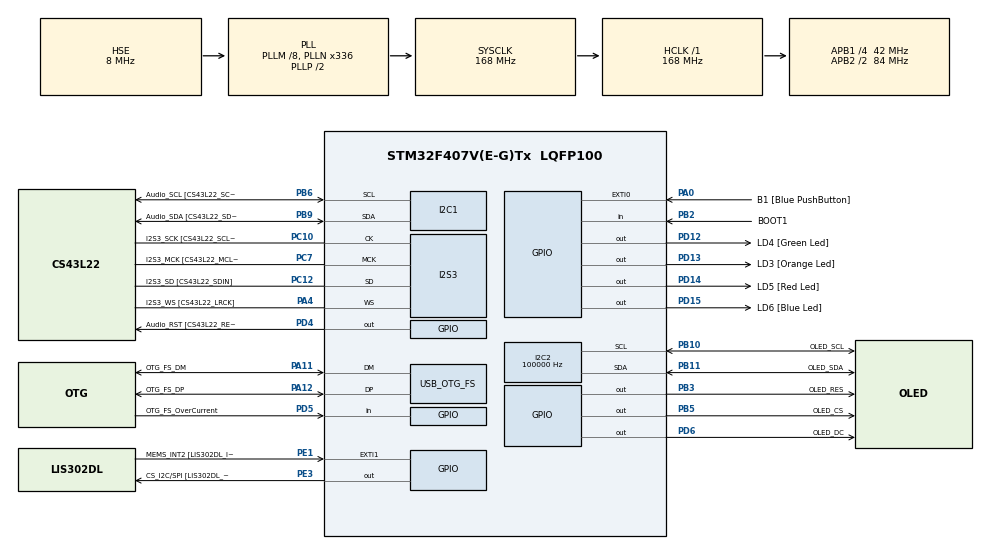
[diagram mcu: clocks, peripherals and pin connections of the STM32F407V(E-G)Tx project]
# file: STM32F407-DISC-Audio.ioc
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Dma.Request0=SPI3_TX
Dma.SPI3_TX.0.Direction=DMA_MEMORY_TO_PERIPH
Dma.SPI3_TX.0.FIFOMode=DMA_FIFOMODE_DISABLE
Dma.SPI3_TX.0.Instance=DMA1_Stream5
Dma.SPI3_TX.0.MemDataAlignment=DMA_MDATAALIGN_HALFWORD
Dma.SPI3_TX.0.MemInc=DMA_MINC_ENABLE
Dma.SPI3_TX.0.Mode=DMA_CIRCULAR
Dma.SPI3_TX.0.PeriphDataAlignment=DMA_PDATAALIGN_HALFWORD
Dma.SPI3_TX.0.PeriphInc=DMA_PINC_DISABLE
Dma.SPI3_TX.0.Priority=DMA_PRIORITY_LOW
FREERTOS.Tasks01=defaultTask,0,128,StartDefaultTask,Default,NULL,Dynamic,NULL,NULL
I2S3.AudioFreq=I2S_AUDIOFREQ_48K
I2S3.ErrorAudioFreq=-0.02 %
I2S3.FullDuplexMode=I2S_FULLDUPLEXMODE_DISABLE
I2S3.Instance=SPI$Index
I2S3.RealAudioFreq=47.991 KHz
I2S3.VirtualMode=I2S_MODE_MASTER
Mcu.Family=STM32F4
Mcu.Name=STM32F407V(E-G)Tx
Mcu.Package=LQFP100
NVIC.DMA1_Stream5_IRQn=true\:5\:0\:false\:false\:true\:true\:false\:true\:true
NVIC.OTG_FS_IRQn=true\:5\:0\:false\:false\:true\:true\:true\:true\:true
NVIC.PriorityGroup=NVIC_PRIORITYGROUP_4
NVIC.TIM1_UP_TIM10_IRQn=true\:15\:0\:false\:false\:true\:false\:false\:true\:true
NVIC.TimeBase=TIM1_UP_TIM10_IRQn
NVIC.TimeBaseIP=TIM1
PA0-WKUP.GPIO_Label=B1 [Blue PushButton]
PA0-WKUP.GPIO_ModeDefaultEXTI=GPIO_MODE_EVT_RISING
PA0-WKUP.GPIO_PuPd=GPIO_NOPULL
PA0-WKUP.Signal=GPXTI0
PA10.GPIO_Label=OTG_FS_ID
PA10.GPIO_Mode=GPIO_MODE_AF_PP
PA10.GPIO_PuPd=GPIO_NOPULL
PA10.GPIO_Speed=GPIO_SPEED_FREQ_LOW
PA10.Signal=USB_OTG_FS_ID
PA11.GPIO_Label=OTG_FS_DM
PA11.GPIO_Mode=GPIO_MODE_AF_PP
PA11.GPIO_PuPd=GPIO_NOPULL
PA11.GPIO_Speed=GPIO_SPEED_FREQ_LOW
PA11.Mode=Device_Only
PA11.Signal=USB_OTG_FS_DM
PA12.GPIO_Label=OTG_FS_DP
PA12.GPIO_Mode=GPIO_MODE_AF_PP
PA12.GPIO_PuPd=GPIO_NOPULL
PA12.GPIO_Speed=GPIO_SPEED_FREQ_LOW
PA12.Mode=Device_Only
PA12.Signal=USB_OTG_FS_DP
PA13.GPIO_Label=SWDIO
PA13.Mode=Serial_Wire
PA13.Signal=SYS_JTMS-SWDIO
PA14.GPIO_Label=SWCLK
PA14.Mode=Serial_Wire
PA14.Signal=SYS_JTCK-SWCLK
PA4.GPIO_Label=I2S3_WS [CS43L22_LRCK]
PA4.GPIO_Mode=GPIO_MODE_AF_PP
PA4.GPIO_PuPd=GPIO_NOPULL
PA4.GPIO_Speed=GPIO_SPEED_FREQ_LOW
PA4.Mode=Half_Duplex_Master
PA4.Signal=I2S3_WS
PA6.GPIO_Label=SPI1_MISO [LIS302DL_SDO]
PA6.GPIO_Mode=GPIO_MODE_AF_PP
PA6.GPIO_PuPd=GPIO_NOPULL
PA6.GPIO_Speed=GPIO_SPEED_FREQ_LOW
PA6.Signal=SPI1_MISO
PA7.GPIO_Label=SPI1_MOSI [LIS302DL_SDA/SDI/SDO]
PA7.GPIO_Mode=GPIO_MODE_AF_PP
PA7.GPIO_PuPd=GPIO_NOPULL
PA7.GPIO_Speed=GPIO_SPEED_FREQ_LOW
PA7.Signal=SPI1_MOSI
PA9.GPIO_Label=VBUS_FS
PA9.GPIO_Mode=GPIO_MODE_INPUT
PA9.GPIO_PuPd=GPIO_NOPULL
PA9.Signal=USB_OTG_FS_VBUS
I2C2.ClockSpeed=100000
PB2.GPIO_Label=BOOT1
PB2.GPIO_Mode=GPIO_MODE_INPUT
PB2.GPIO_PuPd=GPIO_NOPULL
PB2.Signal=GPIO_Input
PB3.GPIO_Label=OLED_RES
PB3.GPIO_PuPd=GPIO_NOPULL
PB3.GPIO_Speed=GPIO_SPEED_FREQ_LOW
PB3.Signal=GPIO_Output
PB5.GPIO_Label=OLED_CS
PB5.GPIO_PuPd=GPIO_NOPULL
PB5.GPIO_Speed=GPIO_SPEED_FREQ_LOW
PB5.Signal=GPIO_Output
PB6.GPIO_Label=Audio_SCL [CS43L22_SCL]
PB6.GPIO_Mode=GPIO_MODE_AF_OD
PB6.GPIO_Pu=GPIO_PULLUP
PB6.GPIO_PuPd=GPIO_NOPULL
PB6.GPIO_Speed=GPIO_SPEED_FREQ_LOW
PB6.Mode=I2C
PB6.Signal=I2C1_SCL
PB9.GPIO_Label=Audio_SDA [CS43L22_SDA]
PB9.GPIO_Mode=GPIO_MODE_AF_OD
PB9.GPIO_Pu=GPIO_PULLUP
PB9.GPIO_PuPd=GPIO_NOPULL
PB9.GPIO_Speed=GPIO_SPEED_FREQ_LOW
PB9.Mode=I2C
PB9.Signal=I2C1_SDA
PB10.GPIO_Label=OLED_SCL
PB10.GPIO_Mode=GPIO_MODE_AF_OD
PB10.GPIO_Pu=GPIO_PULLUP
PB10.GPIO_PuPd=GPIO_NOPULL
PB10.GPIO_Speed=GPIO_SPEED_FREQ_LOW
PB10.Mode=I2C
PB10.Signal=I2C2_SCL
PB11.GPIO_Label=OLED_SDA
PB11.GPIO_Mode=GPIO_MODE_AF_OD
PB11.GPIO_Pu=GPIO_PULLUP
PB11.GPIO_PuPd=GPIO_NOPULL
PB11.GPIO_Speed=GPIO_SPEED_FREQ_LOW
PB11.Mode=I2C
PB11.Signal=I2C2_SDA
PC10.GPIO_Label=I2S3_SCK [CS43L22_SCLK]
PC10.GPIO_Mode=GPIO_MODE_AF_PP
PC10.GPIO_PuPd=GPIO_NOPULL
PC10.GPIO_Speed=GPIO_SPEED_FREQ_LOW
PC10.Mode=Half_Duplex_Master
PC10.Signal=I2S3_CK
PC12.GPIO_Label=I2S3_SD [CS43L22_SDIN]
PC12.GPIO_Mode=GPIO_MODE_AF_PP
PC12.GPIO_PuPd=GPIO_NOPULL
PC12.GPIO_Speed=GPIO_SPEED_FREQ_LOW
PC12.Mode=Half_Duplex_Master
PC12.Signal=I2S3_SD
PC14-OSC32_IN.GPIO_Label=PC14-OSC32_IN
PC14-OSC32_IN.Mode=LSE-External-Oscillator
PC14-OSC32_IN.Signal=RCC_OSC32_IN
PC15-OSC32_OUT.GPIO_Label=PC15-OSC32_OUT
PC15-OSC32_OUT.Mode=LSE-External-Oscillator
PC15-OSC32_OUT.Signal=RCC_OSC32_OUT
PC7.GPIO_Label=I2S3_MCK [CS43L22_MCLK]
PC7.GPIO_Mode=GPIO_MODE_AF_PP
PC7.GPIO_PuPd=GPIO_NOPULL
PC7.GPIO_Speed=GPIO_SPEED_FREQ_LOW
PC7.Mode=Master_Clock_Activated
PC7.Signal=I2S3_MCK
PD12.GPIO_Label=LD4 [Green Led]
PD12.GPIO_PuPd=GPIO_NOPULL
PD12.GPIO_Speed=GPIO_SPEED_FREQ_LOW
PD12.Signal=GPIO_Output
PD13.GPIO_Label=LD3 [Orange Led]
PD13.GPIO_PuPd=GPIO_NOPULL
PD13.GPIO_Speed=GPIO_SPEED_FREQ_LOW
PD13.Signal=GPIO_Output
PD14.GPIO_Label=LD5 [Red Led]
PD14.GPIO_PuPd=GPIO_NOPULL
PD14.GPIO_Speed=GPIO_SPEED_FREQ_LOW
PD14.Signal=GPIO_Output
PD15.GPIO_Label=LD6 [Blue Led]
PD15.GPIO_PuPd=GPIO_NOPULL
PD15.GPIO_Speed=GPIO_SPEED_FREQ_LOW
PD15.Signal=GPIO_Output
PD4.GPIO_Label=Audio_RST [CS43L22_RESET]
PD4.GPIO_PuPd=GPIO_NOPULL
PD4.GPIO_Speed=GPIO_SPEED_FREQ_LOW
PD4.Signal=GPIO_Output
PD5.GPIO_Label=OTG_FS_OverCurrent
PD5.GPIO_Mode=GPIO_MODE_INPUT
PD5.GPIO_PuPd=GPIO_NOPULL
PD5.Signal=GPIO_Input
PD6.GPIO_Label=OLED_DC
PD6.GPIO_PuPd=GPIO_NOPULL
PD6.GPIO_Speed=GPIO_SPEED_FREQ_LOW
PD6.Signal=GPIO_Output
PE1.GPIO_Label=MEMS_INT2 [LIS302DL_INT2]
PE1.GPIO_ModeDefaultEXTI=GPIO_MODE_EVT_RISING
PE1.GPIO_PuPd=GPIO_NOPULL
PE1.Signal=GPXTI1
PE3.GPIO_Label=CS_I2C/SPI [LIS302DL_CS_I2C/SPI]
PE3.GPIO_PuPd=GPIO_NOPULL
PE3.GPIO_Speed=GPIO_SPEED_FREQ_LOW
PE3.Signal=GPIO_Output
PH0-OSC_IN.GPIO_Label=PH0-OSC_IN
PH0-OSC_IN.Mode=HSE-External-Oscillator
PH0-OSC_IN.Signal=RCC_OSC_IN
PH1-OSC_OUT.GPIO_Label=PH1-OSC_OUT
PH1-OSC_OUT.Mode=HSE-External-Oscillator
PH1-OSC_OUT.Signal=RCC_OSC_OUT
ProjectManager.HeapSize=0x200
ProjectManager.StackSize=0x400
ProjectManager.TargetToolchain=CMake
RCC.48MHZClocksFreq_Value=48000000
RCC.AHBFreq_Value=168000000
RCC.APB1CLKDivider=RCC_HCLK_DIV4
RCC.APB1Freq_Value=42000000
RCC.APB1TimFreq_Value=84000000
RCC.APB2CLKDivider=RCC_HCLK_DIV2
RCC.APB2Freq_Value=84000000
RCC.APB2TimFreq_Value=168000000
RCC.CortexFreq_Value=168000000
RCC.HCLKFreq_Value=168000000
RCC.HSE_VALUE=8000000
RCC.HSI_VALUE=16000000
RCC.PLLI2SN=258
RCC.PLLI2SR=3
RCC.PLLM=8
RCC.PLLN=336
RCC.PLLQ=7
RCC.SYSCLKFreq_VALUE=168000000
RCC.SYSCLKSource=RCC_SYSCLKSOURCE_PLLCLK
RCC.VCOOutputFreq_Value=336000000
USB_DEVICE.CLASS_NAME_FS=AUDIO
USB_DEVICE.USBD_AUDIO_FREQ-AUDIO_FS=48000
USB_DEVICE.VirtualMode-AUDIO_FS=Audio
USB_DEVICE.VirtualModeFS=Audio_FS
USB_OTG_FS.VirtualMode=Device_Only
VP_FREERTOS_VS_CMSIS_V1.Mode=CMSIS_V1
VP_SYS_VS_tim1.Mode=TIM1
VP_USB_DEVICE_VS_USB_DEVICE_AUDIO_FS.Mode=AUDIO_FS
board=STM32F407G-DISC1

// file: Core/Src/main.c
/* USER CODE BEGIN Header */
/**
  ******************************************************************************
  * @file           : main.c
  * @brief          : Main program body
  ******************************************************************************
  * @attention
  *
  * Copyright (c) 2026 STMicroelectronics.
  * All rights reserved.
  *
  * This software is licensed under terms that can be found in the LICENSE file
  * in the root directory of this software component.
  * If no LICENSE file comes with this software, it is provided AS-IS.
  *
  ******************************************************************************
  */
/* USER CODE END Header */
#include "main.h"
#include "cmsis_os.h"
#if ENABLE_DISPLAY
#include "oled_display.h"
#endif
#include "usb_device.h"
#include "usbd_audio_if.h"

/* USER CODE BEGIN Includes */
#if ENABLE_DISPLAY
#include "lvgl.h"
#include "lv_port_disp_oled.h"
#endif
#include "usbd_def.h"
/* USER CODE END Includes */

I2C_HandleTypeDef hi2c1;
I2C_HandleTypeDef hi2c2;

I2S_HandleTypeDef hi2s3;
DMA_HandleTypeDef hdma_spi3_tx;

osThreadId defaultTaskHandle;
osThreadId audioTaskHandle;
#if ENABLE_DISPLAY
osThreadId lcdTaskHandle;
osMessageQId uiEventQueueHandle;
#endif
/* USER CODE BEGIN PV */
#if ENABLE_DISPLAY
static lv_obj_t *ui_usb_status_val = NULL;
static lv_obj_t *ui_playback_val = NULL;
static lv_obj_t *ui_codec_val = NULL;
static lv_obj_t *ui_sample_rate_val = NULL;
static lv_obj_t *ui_volume_val = NULL;
static lv_obj_t *ui_mute_val = NULL;
static lv_obj_t *ui_root_screen = NULL;
static uint32_t ui_last_audio_update_counter = 0U;
#endif

/* USER CODE END PV */

void SystemClock_Config(void);
static void MX_GPIO_Init(void);
static void MX_DMA_Init(void);
static void MX_I2C1_Init(void);
static void MX_I2C2_Init(void);
static void MX_I2S3_Init(void);
void StartDefaultTask(void const * argument);
void StartAudioTask(void const * argument);
#if ENABLE_DISPLAY
void StartLcdTask(void const * argument);
#endif

/* USER CODE BEGIN PFP */
#if ENABLE_DISPLAY
static void create_audio_info_ui(void);
#endif
extern USBD_HandleTypeDef hUsbDeviceFS;

/* USER CODE END PFP */

/* USER CODE BEGIN 0 */
#define UI_PLAYBACK_STATE_IDLE      0U
#define UI_PLAYBACK_STATE_STARTING  1U
#define UI_PLAYBACK_STATE_ACTIVE    2U
#define UI_EVENT_AUDIO_REFRESH      1U
/* USER CODE END 0 */

int main(void)
{

  /* MCU Configuration--------------------------------------------------------*/

  /* Reset of all peripherals, Initializes the Flash interface and the Systick. */
  HAL_Init();

  /* Configure the system clock */
  SystemClock_Config();

  /* Initialize all configured peripherals */
  MX_GPIO_Init();
  MX_DMA_Init();
  MX_I2C1_Init();
#if ENABLE_DISPLAY
  MX_I2C2_Init();
#endif
  MX_I2S3_Init();

  /* USER CODE BEGIN RTOS_QUEUES */
#if ENABLE_DISPLAY
  /* definition and creation of uiEventQueue */
  osMessageQDef(uiEventQueue, 8, uint16_t);
  uiEventQueueHandle = osMessageCreate(osMessageQ(uiEventQueue), NULL);
#endif
  /* USER CODE END RTOS_QUEUES */

  /* Create the thread(s) */
  /* definition and creation of defaultTask */
  osThreadDef(defaultTask, StartDefaultTask, osPriorityNormal, 0, 512);
  defaultTaskHandle = osThreadCreate(osThread(defaultTask), NULL);

  /* definition and creation of audioTask */
  osThreadDef(audioTask, StartAudioTask, osPriorityHigh, 0, 512);
  audioTaskHandle = osThreadCreate(osThread(audioTask), NULL);

#if ENABLE_DISPLAY
  /* definition and creation of lcdTask */
  osThreadDef(lcdTask, StartLcdTask, osPriorityNormal, 0, 2048);
  lcdTaskHandle = osThreadCreate(osThread(lcdTask), NULL);
#endif

  /* Start scheduler */
  osKernelStart();

  /* We should never get here as control is now taken by the scheduler */

  /* Infinite loop */
  while (1)
  {

    /* USER CODE BEGIN 3 */
    osDelay(30);
  }
  /* USER CODE END 3 */
}

void SystemClock_Config(void)
{
  RCC_OscInitTypeDef RCC_OscInitStruct = {0};
  RCC_ClkInitTypeDef RCC_ClkInitStruct = {0};

  /** Configure the main internal regulator output voltage
  */
  __HAL_RCC_PWR_CLK_ENABLE();
  __HAL_PWR_VOLTAGESCALING_CONFIG(PWR_REGULATOR_VOLTAGE_SCALE1);

  /** Initializes the RCC Oscillators according to the specified parameters
  * in the RCC_OscInitTypeDef structure.
  */
  RCC_OscInitStruct.OscillatorType = RCC_OSCILLATORTYPE_HSE;
  RCC_OscInitStruct.HSEState = RCC_HSE_ON;
  RCC_OscInitStruct.PLL.PLLState = RCC_PLL_ON;
  RCC_OscInitStruct.PLL.PLLSource = RCC_PLLSOURCE_HSE;
  RCC_OscInitStruct.PLL.PLLM = 8;
  RCC_OscInitStruct.PLL.PLLN = 336;
  RCC_OscInitStruct.PLL.PLLP = RCC_PLLP_DIV2;
  RCC_OscInitStruct.PLL.PLLQ = 7;
  if (HAL_RCC_OscConfig(&RCC_OscInitStruct) != HAL_OK)
  {
    Error_Handler();
  }

  /** Initializes the CPU, AHB and APB buses clocks
  */
  RCC_ClkInitStruct.ClockType = RCC_CLOCKTYPE_HCLK|RCC_CLOCKTYPE_SYSCLK
                              |RCC_CLOCKTYPE_PCLK1|RCC_CLOCKTYPE_PCLK2;
  RCC_ClkInitStruct.SYSCLKSource = RCC_SYSCLKSOURCE_PLLCLK;
  RCC_ClkInitStruct.AHBCLKDivider = RCC_SYSCLK_DIV1;
  RCC_ClkInitStruct.APB1CLKDivider = RCC_HCLK_DIV4;
  RCC_ClkInitStruct.APB2CLKDivider = RCC_HCLK_DIV2;

  if (HAL_RCC_ClockConfig(&RCC_ClkInitStruct, FLASH_LATENCY_5) != HAL_OK)
  {
    Error_Handler();
  }
}

static void MX_I2C1_Init(void)
{

  hi2c1.Instance = I2C1;
  hi2c1.Init.ClockSpeed = 100000;
  hi2c1.Init.DutyCycle = I2C_DUTYCYCLE_2;
  hi2c1.Init.OwnAddress1 = 0;
  hi2c1.Init.AddressingMode = I2C_ADDRESSINGMODE_7BIT;
  hi2c1.Init.DualAddressMode = I2C_DUALADDRESS_DISABLE;
  hi2c1.Init.OwnAddress2 = 0;
  hi2c1.Init.GeneralCallMode = I2C_GENERALCALL_DISABLE;
  hi2c1.Init.NoStretchMode = I2C_NOSTRETCH_DISABLE;
  if (HAL_I2C_Init(&hi2c1) != HAL_OK)
  {
    Error_Handler();
  }

}

static void MX_I2C2_Init(void)
{

  hi2c2.Instance = I2C2;
  hi2c2.Init.ClockSpeed = 100000;
  hi2c2.Init.DutyCycle = I2C_DUTYCYCLE_2;
  hi2c2.Init.OwnAddress1 = 0;
  hi2c2.Init.AddressingMode = I2C_ADDRESSINGMODE_7BIT;
  hi2c2.Init.DualAddressMode = I2C_DUALADDRESS_DISABLE;
  hi2c2.Init.OwnAddress2 = 0;
  hi2c2.Init.GeneralCallMode = I2C_GENERALCALL_DISABLE;
  hi2c2.Init.NoStretchMode = I2C_NOSTRETCH_DISABLE;
  if (HAL_I2C_Init(&hi2c2) != HAL_OK)
  {
    Error_Handler();
  }

}

static void MX_I2S3_Init(void)
{

  hi2s3.Instance = SPI3;
  hi2s3.Init.Mode = I2S_MODE_MASTER_TX;
  hi2s3.Init.Standard = I2S_STANDARD_PHILIPS;
  hi2s3.Init.DataFormat = I2S_DATAFORMAT_16B;
  hi2s3.Init.MCLKOutput = I2S_MCLKOUTPUT_ENABLE;
  hi2s3.Init.AudioFreq = I2S_AUDIOFREQ_48K;
  hi2s3.Init.CPOL = I2S_CPOL_LOW;
  hi2s3.Init.ClockSource = I2S_CLOCK_PLL;
  hi2s3.Init.FullDuplexMode = I2S_FULLDUPLEXMODE_DISABLE;
  if (HAL_I2S_Init(&hi2s3) != HAL_OK)
  {
    Error_Handler();
  }

}

static void MX_DMA_Init(void)
{

  /* DMA controller clock enable */
  __HAL_RCC_DMA1_CLK_ENABLE();

  /* DMA interrupt init */
  /* DMA1_Stream5_IRQn interrupt configuration */
  HAL_NVIC_SetPriority(DMA1_Stream5_IRQn, 5, 0);
  HAL_NVIC_EnableIRQ(DMA1_Stream5_IRQn);

}

static void MX_GPIO_Init(void)
{
  GPIO_InitTypeDef GPIO_InitStruct = {0};

  /* GPIO Ports Clock Enable */
  __HAL_RCC_GPIOE_CLK_ENABLE();
  __HAL_RCC_GPIOC_CLK_ENABLE();
  __HAL_RCC_GPIOH_CLK_ENABLE();
  __HAL_RCC_GPIOA_CLK_ENABLE();
  __HAL_RCC_GPIOB_CLK_ENABLE();
  __HAL_RCC_GPIOD_CLK_ENABLE();

  /*Configure GPIO pin Output Level */
  HAL_GPIO_WritePin(CS_I2C_SPI_GPIO_Port, CS_I2C_SPI_Pin, GPIO_PIN_RESET);

  /*Configure GPIO pin Output Level */
  HAL_GPIO_WritePin(GPIOD, LD4_Pin|LD3_Pin|LD5_Pin|LD6_Pin
                          |Audio_RST_Pin|OLED_DC_Pin, GPIO_PIN_RESET);

  /*Configure GPIO pin Output Level */
  HAL_GPIO_WritePin(GPIOB, OLED_RES_Pin|OLED_CS_Pin, GPIO_PIN_RESET);

  /*Configure GPIO pin : CS_I2C_SPI_Pin */
  GPIO_InitStruct.Pin = CS_I2C_SPI_Pin;
  GPIO_InitStruct.Mode = GPIO_MODE_OUTPUT_PP;
  GPIO_InitStruct.Pull = GPIO_NOPULL;
  GPIO_InitStruct.Speed = GPIO_SPEED_FREQ_LOW;
  HAL_GPIO_Init(CS_I2C_SPI_GPIO_Port, &GPIO_InitStruct);

  /*Configure GPIO pin : B1_Pin */
  GPIO_InitStruct.Pin = B1_Pin;
  GPIO_InitStruct.Mode = GPIO_MODE_EVT_RISING;
  GPIO_InitStruct.Pull = GPIO_NOPULL;
  HAL_GPIO_Init(B1_GPIO_Port, &GPIO_InitStruct);

  /*Configure GPIO pins : OLED_RES_Pin OLED_CS_Pin */
  GPIO_InitStruct.Pin = OLED_RES_Pin|OLED_CS_Pin;
  GPIO_InitStruct.Mode = GPIO_MODE_OUTPUT_PP;
  GPIO_InitStruct.Pull = GPIO_NOPULL;
  GPIO_InitStruct.Speed = GPIO_SPEED_FREQ_LOW;
  HAL_GPIO_Init(GPIOB, &GPIO_InitStruct);

  /*Configure GPIO pins : SPI1_MISO_Pin SPI1_MOSI_Pin */
  GPIO_InitStruct.Pin = SPI1_MISO_Pin|SPI1_MOSI_Pin;
  GPIO_InitStruct.Mode = GPIO_MODE_AF_PP;
  GPIO_InitStruct.Pull = GPIO_NOPULL;
  GPIO_InitStruct.Speed = GPIO_SPEED_FREQ_LOW;
  GPIO_InitStruct.Alternate = GPIO_AF5_SPI1;
  HAL_GPIO_Init(GPIOA, &GPIO_InitStruct);

  /*Configure GPIO pin : BOOT1_Pin */
  GPIO_InitStruct.Pin = BOOT1_Pin;
  GPIO_InitStruct.Mode = GPIO_MODE_INPUT;
  GPIO_InitStruct.Pull = GPIO_NOPULL;
  HAL_GPIO_Init(BOOT1_GPIO_Port, &GPIO_InitStruct);

  /*Configure GPIO pins : LD4_Pin LD3_Pin LD5_Pin LD6_Pin
                           Audio_RST_Pin OLED_DC_Pin */
  GPIO_InitStruct.Pin = LD4_Pin|LD3_Pin|LD5_Pin|LD6_Pin
                          |Audio_RST_Pin|OLED_DC_Pin;
  GPIO_InitStruct.Mode = GPIO_MODE_OUTPUT_PP;
  GPIO_InitStruct.Pull = GPIO_NOPULL;
  GPIO_InitStruct.Speed = GPIO_SPEED_FREQ_LOW;
  HAL_GPIO_Init(GPIOD, &GPIO_InitStruct);

  /*Configure GPIO pin : OTG_FS_OverCurrent_Pin */
  GPIO_InitStruct.Pin = OTG_FS_OverCurrent_Pin;
  GPIO_InitStruct.Mode = GPIO_MODE_INPUT;
  GPIO_InitStruct.Pull = GPIO_NOPULL;
  HAL_GPIO_Init(OTG_FS_OverCurrent_GPIO_Port, &GPIO_InitStruct);

  /*Configure GPIO pin : MEMS_INT2_Pin */
  GPIO_InitStruct.Pin = MEMS_INT2_Pin;
  GPIO_InitStruct.Mode = GPIO_MODE_EVT_RISING;
  GPIO_InitStruct.Pull = GPIO_NOPULL;
  HAL_GPIO_Init(MEMS_INT2_GPIO_Port, &GPIO_InitStruct);

}

/* USER CODE BEGIN 4 */
#if ENABLE_DISPLAY
static uint32_t lvgl_tick_get_cb(void)
{
  return HAL_GetTick();
}

static lv_obj_t *create_info_row(lv_obj_t *parent, const char *name, lv_coord_t y)
{
  lv_obj_t *label = lv_label_create(parent);
  lv_label_set_text(label, name);
  lv_obj_set_size(label, 44, LV_SIZE_CONTENT);
  lv_label_set_long_mode(label, LV_LABEL_LONG_CLIP);
  lv_obj_align(label, LV_ALIGN_TOP_LEFT, 2, y);
  lv_obj_set_style_text_color(label, lv_color_hex(0xFFFFFF), LV_PART_MAIN);
  lv_obj_set_style_text_font(label, &lv_font_montserrat_8, LV_PART_MAIN);

  lv_obj_t *value = lv_label_create(parent);
  lv_label_set_text(value, "--");
  lv_obj_set_size(value, 78, LV_SIZE_CONTENT);
  lv_label_set_long_mode(value, LV_LABEL_LONG_CLIP);
  lv_obj_set_style_text_align(value, LV_TEXT_ALIGN_RIGHT, LV_PART_MAIN);
  lv_obj_align(value, LV_ALIGN_TOP_RIGHT, -2, y);
  lv_obj_set_style_text_color(value, lv_color_hex(0xFFFFFF), LV_PART_MAIN);
  lv_obj_set_style_text_font(value, &lv_font_montserrat_8, LV_PART_MAIN);

  return value;
}

static void update_audio_info_ui(void)
{
  const char *usb_status_text = "Detached";
  const char *playback_text = "Idle";

  switch (hUsbDeviceFS.dev_state)
  {
    case USBD_STATE_CONFIGURED:
      usb_status_text = "Configured";
      break;

    case USBD_STATE_ADDRESSED:
      usb_status_text = "Addressed";
      break;

    case USBD_STATE_SUSPENDED:
      usb_status_text = "Suspended";
      break;

    case USBD_STATE_DEFAULT:
    default:
      usb_status_text = "Detached";
      break;
  }

  switch (AUDIO_UI_GetPlaybackState())
  {
    case UI_PLAYBACK_STATE_ACTIVE:
      playback_text = "Active";
      break;

    case UI_PLAYBACK_STATE_STARTING:
      playback_text = "Starting";
      break;

    case UI_PLAYBACK_STATE_IDLE:
    default:
      playback_text = "Idle";
      break;
  }

  if (ui_usb_status_val != NULL)
  {
    lv_label_set_text(ui_usb_status_val, usb_status_text);
  }

  if (ui_playback_val != NULL)
  {
    lv_label_set_text(ui_playback_val, playback_text);
  }

  if (ui_codec_val != NULL)
  {
    lv_label_set_text(ui_codec_val,
                      (AUDIO_UI_GetCodecReady() != 0U) ? "Ready" : "Off");
  }

  if (ui_sample_rate_val != NULL)
  {
    lv_label_set_text_fmt(ui_sample_rate_val, "%lu Hz",
                          (unsigned long)AUDIO_UI_GetSampleRate());
  }

  if (ui_volume_val != NULL)
  {
    lv_label_set_text_fmt(ui_volume_val, "%u%%", AUDIO_UI_GetVolume());
  }

  if (ui_mute_val != NULL)
  {
    lv_label_set_text(ui_mute_val,
                      (AUDIO_UI_GetMuted() != 0U) ? "Muted" : "Off");
  }

  if (ui_root_screen != NULL)
  {
    /* Force a full page redraw so the static labels and title stay in sync
       with the dynamically updated value fields on this small partial-refresh panel. */
    lv_obj_invalidate(ui_root_screen);
  }
}

void UI_RequestAudioStatusRefresh(void)
{
  if (uiEventQueueHandle != NULL)
  {
    (void)osMessagePut(uiEventQueueHandle, UI_EVENT_AUDIO_REFRESH, 0U);
  }
}
#endif

/* USER CODE END 4 */

/**
 * @brief Create USB Audio Information UI
 */
#if ENABLE_DISPLAY
static void create_audio_info_ui(void)
{
  /* Get active screen */
  lv_obj_t *scr = lv_scr_act();
  ui_root_screen = scr;

  /* Set background color to black */
  lv_obj_set_style_bg_color(scr, lv_color_hex(0x000000), LV_PART_MAIN);

  lv_obj_t *title = lv_label_create(scr);
  lv_label_set_text(title, "USB Audio");
  lv_obj_set_width(title, 124);
  lv_label_set_long_mode(title, LV_LABEL_LONG_CLIP);
  lv_obj_set_style_text_align(title, LV_TEXT_ALIGN_CENTER, LV_PART_MAIN);
  lv_obj_align(title, LV_ALIGN_TOP_MID, 0, 2);
  lv_obj_set_style_text_color(title, lv_color_hex(0xFFFFFF), LV_PART_MAIN);
  lv_obj_set_style_text_font(title, &lv_font_montserrat_8, LV_PART_MAIN);

  lv_obj_t *line1 = lv_obj_create(scr);
  lv_obj_set_size(line1, 124, 1);
  lv_obj_align(line1, LV_ALIGN_TOP_MID, 0, 12);
  lv_obj_set_style_bg_color(line1, lv_color_hex(0xFFFFFF), LV_PART_MAIN);
  lv_obj_set_style_border_width(line1, 0, LV_PART_MAIN);

  ui_usb_status_val = create_info_row(scr, "LINK", 16);
  ui_playback_val = create_info_row(scr, "PLAY", 25);
  ui_codec_val = create_info_row(scr, "CODEC", 34);
  ui_sample_rate_val = create_info_row(scr, "RATE", 43);
  ui_volume_val = create_info_row(scr, "VOL", 52);
  ui_mute_val = NULL;

  update_audio_info_ui();
}
#endif

void StartDefaultTask(void const * argument)
{
/* USER CODE BEGIN 5 */
  /* init code for USB_DEVICE */
  MX_USB_DEVICE_Init();

  /* Infinite loop */
  for(;;)
  {
    osDelay(1);
  }
  /* USER CODE END 5 */
}

void StartAudioTask(void const * argument)
{
  /* USER CODE BEGIN StartAudioTask */
  UNUSED(argument);

  for(;;)
  {
    AUDIO_ServiceTaskStep();
    osDelay(1);
  }
  /* USER CODE END StartAudioTask */
}

#if ENABLE_DISPLAY
void StartLcdTask(void const * argument)
{
  uint32_t ui_refresh_tick = 0U;
  osEvent ui_event;

  /* USER CODE BEGIN StartLcdTask */
  UNUSED(argument);

  /* Initialize LVGL and the display */
  lv_init();
  lv_tick_set_cb(lvgl_tick_get_cb);
  lv_port_disp_init();

  /* Create USB Audio Information UI */
  create_audio_info_ui();

  /* Main loop: handle LVGL tasks with sufficient delay to avoid blocking audio */
  for(;;)
  {
    ui_event = osMessageGet(uiEventQueueHandle, 30U);

    if (ui_event.status == osEventMessage)
    {
      update_audio_info_ui();
      ui_last_audio_update_counter = AUDIO_UI_GetUpdateCounter();
      ui_refresh_tick = HAL_GetTick();
    }
    else if ((AUDIO_UI_GetUpdateCounter() != ui_last_audio_update_counter) ||
             ((HAL_GetTick() - ui_refresh_tick) >= 500U))
    {
      update_audio_info_ui();
      ui_last_audio_update_counter = AUDIO_UI_GetUpdateCounter();
      ui_refresh_tick = HAL_GetTick();
    }

    lv_timer_handler();
  }
  /* USER CODE END StartLcdTask */
}
#endif

void HAL_TIM_PeriodElapsedCallback(TIM_HandleTypeDef *htim)
{
  if (htim->Instance == TIM1)
  {
    HAL_IncTick();
  }
}

void vApplicationStackOverflowHook(TaskHandle_t xTask, char *pcTaskName)
{
  UNUSED(xTask);
  UNUSED(pcTaskName);

  __disable_irq();

  while (1)
  {
    HAL_GPIO_TogglePin(LD3_GPIO_Port, LD3_Pin);
    HAL_Delay(100);
  }
}

void Error_Handler(void)
{
  __disable_irq();
  while (1)
  {
  }
}
